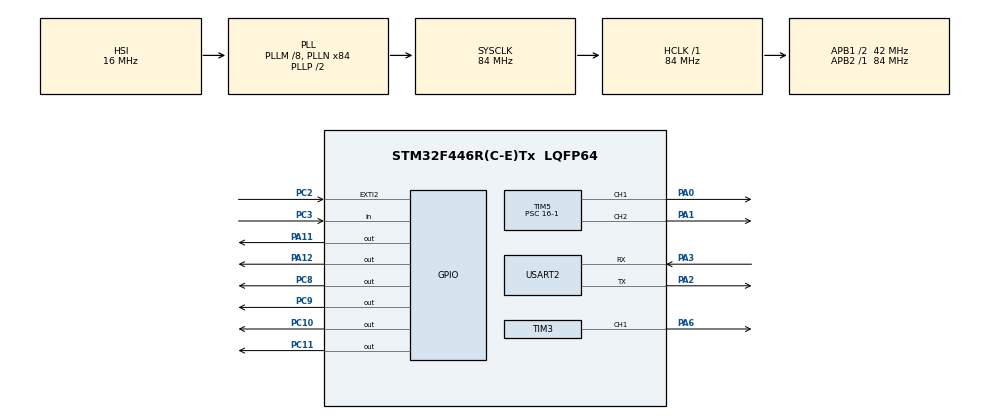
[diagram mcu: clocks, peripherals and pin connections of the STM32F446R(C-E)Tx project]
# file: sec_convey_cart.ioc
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Mcu.Family=STM32F4
Mcu.Name=STM32F446R(C-E)Tx
Mcu.Package=LQFP64
NVIC.EXTI2_IRQn=true\:0\:0\:false\:false\:true\:true\:true\:true
NVIC.PriorityGroup=NVIC_PRIORITYGROUP_4
NVIC.TIM3_IRQn=true\:0\:0\:false\:false\:true\:true\:true\:true
NVIC.TIM5_IRQn=true\:0\:0\:false\:false\:true\:true\:true\:true
NVIC.USART2_IRQn=true\:0\:0\:false\:false\:true\:true\:true\:true
PA0-WKUP.Signal=S_TIM5_CH1
PA1.Signal=S_TIM5_CH2
PA11.GPIO_ModeDefaultOutputPP=GPIO_MODE_OUTPUT_PP
PA11.GPIO_PuPd=GPIO_NOPULL
PA11.Signal=GPIO_Output
PA12.GPIO_ModeDefaultOutputPP=GPIO_MODE_OUTPUT_PP
PA12.GPIO_PuPd=GPIO_NOPULL
PA12.Signal=GPIO_Output
PA13.Mode=Serial_Wire
PA13.Signal=SYS_JTMS-SWDIO
PA14.Mode=Serial_Wire
PA14.Signal=SYS_JTCK-SWCLK
PA2.Mode=Asynchronous
PA2.Signal=USART2_TX
PA3.Mode=Asynchronous
PA3.Signal=USART2_RX
PA6.Signal=S_TIM3_CH1
PC10.Signal=GPIO_Output
PC11.Signal=GPIO_Output
PC2.GPIO_ModeDefaultEXTI=GPIO_MODE_IT_RISING
PC2.GPIO_PuPd=GPIO_PULLUP
PC2.Signal=GPXTI2
PC3.GPIO_PuPd=GPIO_PULLUP
PC3.Signal=GPIO_Input
PC8.Signal=GPIO_Output
PC9.Signal=GPIO_Output
ProjectManager.HeapSize=0x200
ProjectManager.StackSize=0x400
ProjectManager.TargetToolchain=STM32CubeIDE
RCC.AHBFreq_Value=84000000
RCC.APB1CLKDivider=RCC_HCLK_DIV2
RCC.APB1Freq_Value=42000000
RCC.APB1TimFreq_Value=84000000
RCC.APB2Freq_Value=84000000
RCC.APB2TimFreq_Value=84000000
RCC.CortexFreq_Value=84000000
RCC.HCLKFreq_Value=84000000
RCC.PLLM=8
RCC.PLLN=84
RCC.SYSCLKFreq_VALUE=84000000
RCC.SYSCLKSource=RCC_SYSCLKSOURCE_PLLCLK
RCC.USBFreq_Value=84000000
RCC.VCOOutputFreq_Value=168000000
SH.S_TIM3_CH1.0=TIM3_CH1,PWM Generation1 CH1
SH.S_TIM5_CH1.0=TIM5_CH1,PWM Generation1 CH1
SH.S_TIM5_CH2.0=TIM5_CH2,PWM Generation2 CH2
TIM3.AutoReloadPreload=TIM_AUTORELOAD_PRELOAD_ENABLE
TIM3.Channel-PWM\ Generation1\ CH1=TIM_CHANNEL_1
TIM3.OCPolarity_1=TIM_OCPOLARITY_LOW
TIM5.AutoReloadPreload=TIM_AUTORELOAD_PRELOAD_ENABLE
TIM5.Channel-PWM\ Generation1\ CH1=TIM_CHANNEL_1
TIM5.Channel-PWM\ Generation2\ CH2=TIM_CHANNEL_2
TIM5.OCPolarity_1=TIM_OCPOLARITY_LOW
TIM5.Prescaler=16-1
USART2.VirtualMode=VM_ASYNC
board=custom

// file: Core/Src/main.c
/* USER CODE BEGIN Header */
/**
  ******************************************************************************
  * @file           : main.c
  * @brief          : Main program body
  ******************************************************************************
  * @attention
  *
  * Copyright (c) 2026 STMicroelectronics.
  * All rights reserved.
  *
  * This software is licensed under terms that can be found in the LICENSE file
  * in the root directory of this software component.
  * If no LICENSE file comes with this software, it is provided AS-IS.
  *
  ******************************************************************************
  */
/* USER CODE END Header */
#include "main.h"

/* USER CODE BEGIN Includes */
#include "sensor.h"
#include "stepper.h"
#include "sec_convey.h"
#include "comm.h"
#include "sequence.h"
#include "test.h"

#include <string.h>
/* USER CODE END Includes */

TIM_HandleTypeDef htim3;
TIM_HandleTypeDef htim5;

UART_HandleTypeDef huart2;

void SystemClock_Config(void);
static void MX_GPIO_Init(void);
static void MX_TIM3_Init(void);
static void MX_TIM5_Init(void);
static void MX_USART2_UART_Init(void);

int main(void)
{

  /* MCU Configuration--------------------------------------------------------*/

  /* Reset of all peripherals, Initializes the Flash interface and the Systick. */
  HAL_Init();

  /* Configure the system clock */
  SystemClock_Config();

  /* Initialize all configured peripherals */
  MX_GPIO_Init();
  MX_TIM3_Init();
  MX_TIM5_Init();
  MX_USART2_UART_Init();
  /* USER CODE BEGIN 2 */
  Sequence_Init();    // UART 수신 인터럽트 시작 + 상태 초기화
  /* USER CODE END 2 */

  /* Infinite loop */
  /* USER CODE BEGIN WHILE */
  while (1)
  {
	  App_Run();
    /* USER CODE END WHILE */

  }
}

void SystemClock_Config(void)
{
  RCC_OscInitTypeDef RCC_OscInitStruct = {0};
  RCC_ClkInitTypeDef RCC_ClkInitStruct = {0};

  /** Configure the main internal regulator output voltage
  */
  __HAL_RCC_PWR_CLK_ENABLE();
  __HAL_PWR_VOLTAGESCALING_CONFIG(PWR_REGULATOR_VOLTAGE_SCALE3);

  /** Initializes the RCC Oscillators according to the specified parameters
  * in the RCC_OscInitTypeDef structure.
  */
  RCC_OscInitStruct.OscillatorType = RCC_OSCILLATORTYPE_HSI;
  RCC_OscInitStruct.HSIState = RCC_HSI_ON;
  RCC_OscInitStruct.HSICalibrationValue = RCC_HSICALIBRATION_DEFAULT;
  RCC_OscInitStruct.PLL.PLLState = RCC_PLL_ON;
  RCC_OscInitStruct.PLL.PLLSource = RCC_PLLSOURCE_HSI;
  RCC_OscInitStruct.PLL.PLLM = 8;
  RCC_OscInitStruct.PLL.PLLN = 84;
  RCC_OscInitStruct.PLL.PLLP = RCC_PLLP_DIV2;
  RCC_OscInitStruct.PLL.PLLQ = 2;
  RCC_OscInitStruct.PLL.PLLR = 2;
  if (HAL_RCC_OscConfig(&RCC_OscInitStruct) != HAL_OK)
  {
    Error_Handler();
  }

  /** Initializes the CPU, AHB and APB buses clocks
  */
  RCC_ClkInitStruct.ClockType = RCC_CLOCKTYPE_HCLK|RCC_CLOCKTYPE_SYSCLK
                              |RCC_CLOCKTYPE_PCLK1|RCC_CLOCKTYPE_PCLK2;
  RCC_ClkInitStruct.SYSCLKSource = RCC_SYSCLKSOURCE_PLLCLK;
  RCC_ClkInitStruct.AHBCLKDivider = RCC_SYSCLK_DIV1;
  RCC_ClkInitStruct.APB1CLKDivider = RCC_HCLK_DIV2;
  RCC_ClkInitStruct.APB2CLKDivider = RCC_HCLK_DIV1;

  if (HAL_RCC_ClockConfig(&RCC_ClkInitStruct, FLASH_LATENCY_2) != HAL_OK)
  {
    Error_Handler();
  }
}

static void MX_TIM3_Init(void)
{

  TIM_MasterConfigTypeDef sMasterConfig = {0};
  TIM_OC_InitTypeDef sConfigOC = {0};

  htim3.Instance = TIM3;
  htim3.Init.Prescaler = 0;
  htim3.Init.CounterMode = TIM_COUNTERMODE_UP;
  htim3.Init.Period = 65535;
  htim3.Init.ClockDivision = TIM_CLOCKDIVISION_DIV1;
  htim3.Init.AutoReloadPreload = TIM_AUTORELOAD_PRELOAD_ENABLE;
  if (HAL_TIM_PWM_Init(&htim3) != HAL_OK)
  {
    Error_Handler();
  }
  sMasterConfig.MasterOutputTrigger = TIM_TRGO_RESET;
  sMasterConfig.MasterSlaveMode = TIM_MASTERSLAVEMODE_DISABLE;
  if (HAL_TIMEx_MasterConfigSynchronization(&htim3, &sMasterConfig) != HAL_OK)
  {
    Error_Handler();
  }
  sConfigOC.OCMode = TIM_OCMODE_PWM1;
  sConfigOC.Pulse = 0;
  sConfigOC.OCPolarity = TIM_OCPOLARITY_LOW;
  sConfigOC.OCFastMode = TIM_OCFAST_DISABLE;
  if (HAL_TIM_PWM_ConfigChannel(&htim3, &sConfigOC, TIM_CHANNEL_1) != HAL_OK)
  {
    Error_Handler();
  }
  HAL_TIM_MspPostInit(&htim3);

}

static void MX_TIM5_Init(void)
{

  TIM_MasterConfigTypeDef sMasterConfig = {0};
  TIM_OC_InitTypeDef sConfigOC = {0};

  htim5.Instance = TIM5;
  htim5.Init.Prescaler = 16-1;
  htim5.Init.CounterMode = TIM_COUNTERMODE_UP;
  htim5.Init.Period = 4294967295;
  htim5.Init.ClockDivision = TIM_CLOCKDIVISION_DIV1;
  htim5.Init.AutoReloadPreload = TIM_AUTORELOAD_PRELOAD_ENABLE;
  if (HAL_TIM_PWM_Init(&htim5) != HAL_OK)
  {
    Error_Handler();
  }
  sMasterConfig.MasterOutputTrigger = TIM_TRGO_RESET;
  sMasterConfig.MasterSlaveMode = TIM_MASTERSLAVEMODE_DISABLE;
  if (HAL_TIMEx_MasterConfigSynchronization(&htim5, &sMasterConfig) != HAL_OK)
  {
    Error_Handler();
  }
  sConfigOC.OCMode = TIM_OCMODE_PWM1;
  sConfigOC.Pulse = 0;
  sConfigOC.OCPolarity = TIM_OCPOLARITY_LOW;
  sConfigOC.OCFastMode = TIM_OCFAST_DISABLE;
  if (HAL_TIM_PWM_ConfigChannel(&htim5, &sConfigOC, TIM_CHANNEL_1) != HAL_OK)
  {
    Error_Handler();
  }
  sConfigOC.OCPolarity = TIM_OCPOLARITY_HIGH;
  if (HAL_TIM_PWM_ConfigChannel(&htim5, &sConfigOC, TIM_CHANNEL_2) != HAL_OK)
  {
    Error_Handler();
  }
  HAL_TIM_MspPostInit(&htim5);

}

static void MX_USART2_UART_Init(void)
{

  huart2.Instance = USART2;
  huart2.Init.BaudRate = 115200;
  huart2.Init.WordLength = UART_WORDLENGTH_8B;
  huart2.Init.StopBits = UART_STOPBITS_1;
  huart2.Init.Parity = UART_PARITY_NONE;
  huart2.Init.Mode = UART_MODE_TX_RX;
  huart2.Init.HwFlowCtl = UART_HWCONTROL_NONE;
  huart2.Init.OverSampling = UART_OVERSAMPLING_16;
  if (HAL_UART_Init(&huart2) != HAL_OK)
  {
    Error_Handler();
  }

}

static void MX_GPIO_Init(void)
{
  GPIO_InitTypeDef GPIO_InitStruct = {0};

  /* GPIO Ports Clock Enable */
  __HAL_RCC_GPIOC_CLK_ENABLE();
  __HAL_RCC_GPIOA_CLK_ENABLE();

  /*Configure GPIO pin Output Level */
  HAL_GPIO_WritePin(GPIOC, GPIO_PIN_8|GPIO_PIN_9|GPIO_PIN_10|GPIO_PIN_11, GPIO_PIN_RESET);

  /*Configure GPIO pin Output Level */
  HAL_GPIO_WritePin(GPIOA, GPIO_PIN_11|GPIO_PIN_12, GPIO_PIN_RESET);

  /*Configure GPIO pin : PC2 */
  GPIO_InitStruct.Pin = GPIO_PIN_2;
  GPIO_InitStruct.Mode = GPIO_MODE_IT_RISING;
  GPIO_InitStruct.Pull = GPIO_PULLUP;
  HAL_GPIO_Init(GPIOC, &GPIO_InitStruct);

  /*Configure GPIO pin : PC3 */
  GPIO_InitStruct.Pin = GPIO_PIN_3;
  GPIO_InitStruct.Mode = GPIO_MODE_INPUT;
  GPIO_InitStruct.Pull = GPIO_PULLUP;
  HAL_GPIO_Init(GPIOC, &GPIO_InitStruct);

  /*Configure GPIO pins : PC8 PC9 PC10 PC11 */
  GPIO_InitStruct.Pin = GPIO_PIN_8|GPIO_PIN_9|GPIO_PIN_10|GPIO_PIN_11;
  GPIO_InitStruct.Mode = GPIO_MODE_OUTPUT_PP;
  GPIO_InitStruct.Pull = GPIO_NOPULL;
  GPIO_InitStruct.Speed = GPIO_SPEED_FREQ_LOW;
  HAL_GPIO_Init(GPIOC, &GPIO_InitStruct);

  /*Configure GPIO pins : PA11 PA12 */
  GPIO_InitStruct.Pin = GPIO_PIN_11|GPIO_PIN_12;
  GPIO_InitStruct.Mode = GPIO_MODE_OUTPUT_PP;
  GPIO_InitStruct.Pull = GPIO_NOPULL;
  GPIO_InitStruct.Speed = GPIO_SPEED_FREQ_LOW;
  HAL_GPIO_Init(GPIOA, &GPIO_InitStruct);

  /* EXTI interrupt init*/
  HAL_NVIC_SetPriority(EXTI2_IRQn, 0, 0);
  HAL_NVIC_EnableIRQ(EXTI2_IRQn);

}

/* USER CODE BEGIN 4 */
void HAL_UART_RxCpltCallback(UART_HandleTypeDef *huart)
{
#if TEST_MODE
    if (huart->Instance == USART2) Test_RxCallback();
#else
    /* STM2는 USART2(라파2)만 사용. USART1/6은 사용 안 함. */
    if (huart->Instance == USART2) Comm_Rasp_RxCallback();
#endif
}

void HAL_TIM_PeriodElapsedCallback(TIM_HandleTypeDef *htim)
{
    Z_OnTimUpdate(htim);
}

void HAL_GPIO_EXTI_Callback(uint16_t GPIO_Pin)
{
    static uint32_t last = 0;
    uint32_t now = HAL_GetTick();

    if (GPIO_Pin == GPIO_PIN_2) {
        if (now - last < 50) return;

        last = now;
        Sequence_OnPhotoDetected();
    }
}
/* USER CODE END 4 */

void Error_Handler(void)
{
  __disable_irq();
  while (1)
  {
  }
}
